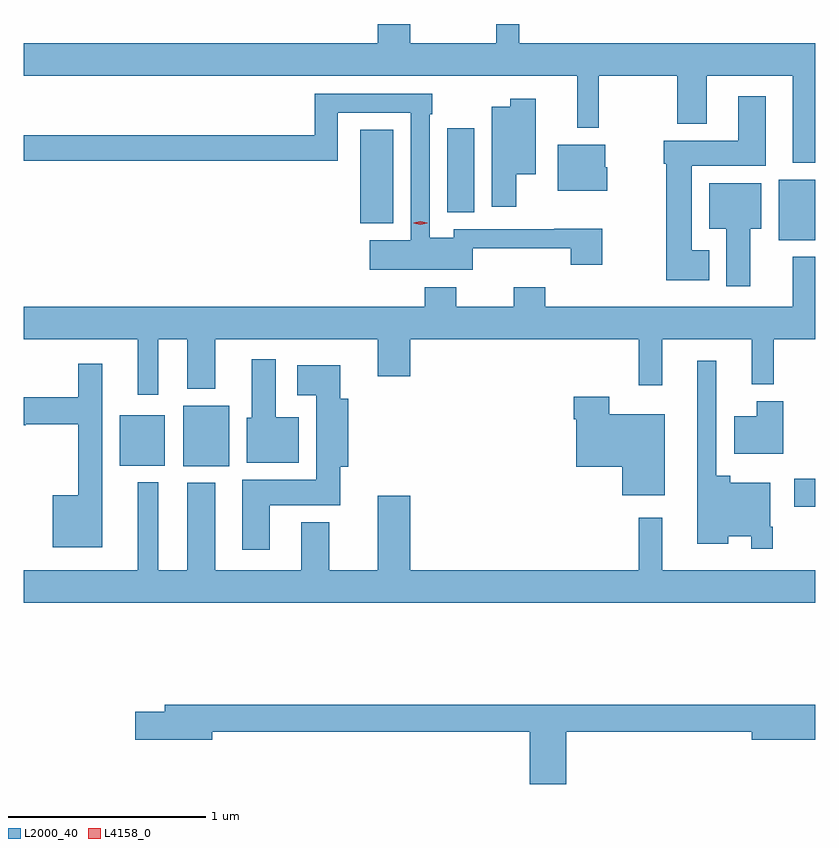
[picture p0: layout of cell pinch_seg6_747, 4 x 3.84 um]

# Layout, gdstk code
import gdstk
lib = gdstk.Library(unit=1e-6, precision=1e-09)
def R(c, l, rs):  # rectangles x0, y0, x1, y1
    for r in rs: c.add(gdstk.rectangle(r[:2], r[2:], *l))
def P(c, l, *ps):  # polygons
    for p in ps: c.add(gdstk.Polygon(p, *l))
L2000_40 = (2000, 40)
L4158_0 = (4158, 0)

pinch_seg6_747 = lib.new_cell('pinch_seg6_747')
R(pinch_seg6_747, L2000_40, [(263.016,989.113,263.122,989.255), (259.928,989.318,260.161,989.623), (259.607,989.321,259.834,989.575), (262.937,990.461,263.122,990.766), (260.822,990.545,260.989,991.019), (261.263,990.601,261.4,991.027)])
P(pinch_seg6_747, L2000_40, [(263.122,991.456),(261.625,991.456),(261.625,991.553),(261.511,991.553),(261.511,991.456),(261.076,991.456),(261.076,991.553),(260.912,991.553),(260.912,991.456),(259.122,991.456),(259.122,991.292),(261.92,991.292),(261.92,991.029),(262.029,991.029),(262.029,991.292),(262.426,991.292),(262.426,991.049),(262.573,991.049),(262.573,991.292),(263.009,991.292),(263.009,990.851),(263.122,990.851)],
  [(261.39,990.419),(261.887,990.419),(261.887,990.336),(262.047,990.336),(262.047,990.518),(261.803,990.518),(261.803,990.516),(261.294,990.516),(261.294,990.472),(261.174,990.472),(261.174,991.097),(261.187,991.097),(261.187,991.2),(260.593,991.2),(260.593,990.991),(259.122,990.991),(259.122,990.862),(260.709,990.862),(260.709,991.104),(261.078,991.104),(261.078,990.46),(260.871,990.46),(260.871,990.311),(261.39,990.311)],
  [(262.588,990.409),(262.498,990.409),(262.498,990.836),(262.873,990.836),(262.873,991.189),(262.733,991.189),(262.733,990.964),(262.358,990.964),(262.358,990.846),(262.369,990.846),(262.369,990.257),(262.588,990.257)],
  [(261.61,990.794),(261.709,990.794),(261.709,991.174),(261.58,991.174),(261.58,991.135),(261.488,991.135),(261.488,990.63),(261.61,990.63)],
  [(262.072,990.828),(262.06,990.828),(262.06,990.943),(261.821,990.943),(261.821,990.71),(262.072,990.71)],
  [(262.795,990.518),(262.849,990.518),(262.849,990.748),(262.586,990.748),(262.586,990.518),(262.673,990.518),(262.673,990.228),(262.795,990.228)],
  [(259.801,989.96),(259.949,989.96),(259.949,989.708),(260.089,989.708),(260.089,989.96),(260.912,989.96),(260.912,989.772),(261.076,989.772),(261.076,989.96),(262.231,989.96),(262.231,989.727),(262.349,989.727),(262.349,989.96),(262.802,989.96),(262.802,989.732),(262.912,989.732),(262.912,989.96),(263.122,989.96),(263.122,990.376),(263.009,990.376),(263.009,990.124),(261.758,990.124),(261.758,990.223),(261.598,990.223),(261.598,990.124),(261.309,990.124),(261.309,990.223),(261.149,990.223),(261.149,990.124),(259.122,990.124),(259.122,989.96),(259.697,989.96),(259.697,989.679),(259.801,989.679)],
  [(260.512,989.566),(260.395,989.566),(260.395,989.857),(260.273,989.857),(260.273,989.562),(260.249,989.562),(260.249,989.336),(260.512,989.336)],
  [(262.909,989.011),(262.896,989.011),(262.896,989.233),(262.692,989.233),(262.692,989.269),(262.623,989.269),(262.623,989.851),(262.526,989.851),(262.526,988.925),(262.684,988.925),(262.684,988.964),(262.8,988.964),(262.8,988.899),(262.909,988.899)],
  [(259.519,989.836),(259.398,989.836),(259.398,989.667),(259.122,989.667),(259.122,989.525),(259.132,989.525),(259.132,989.53),(259.398,989.53),(259.398,989.17),(259.268,989.17),(259.268,988.907),(259.519,988.907)],
  [(260.365,989.12),(260.722,989.12),(260.722,989.315),(260.761,989.315),(260.761,989.659),(260.722,989.659),(260.722,989.827),(260.505,989.827),(260.505,989.675),(260.6,989.675),(260.6,989.248),(260.225,989.248),(260.225,988.896),(260.365,988.896)],
  [(262.363,989.581),(262.08,989.581),(262.08,989.668),(261.902,989.668),(261.902,989.555),(261.914,989.555),(261.914,989.315),(262.148,989.315),(262.148,989.171),(262.363,989.171)],
  [(262.96,989.647),(262.826,989.647),(262.826,989.569),(262.712,989.569),(262.712,989.381),(262.96,989.381)],
  [(263.122,988.792),(262.348,988.792),(262.348,989.056),(262.231,989.056),(262.231,988.792),(261.076,988.792),(261.076,989.167),(260.912,989.167),(260.912,988.792),(260.665,988.792),(260.665,989.035),(260.525,989.035),(260.525,988.792),(260.089,988.792),(260.089,989.233),(259.949,989.233),(259.949,988.792),(259.801,988.792),(259.801,989.236),(259.697,989.236),(259.697,988.792),(259.122,988.792),(259.122,988.628),(263.122,988.628)],
  [(261.863,987.976),(262.802,987.976),(262.802,987.934),(263.122,987.934),(263.122,988.112),(259.835,988.112),(259.835,988.076),(259.686,988.076),(259.686,987.934),(260.074,987.934),(260.074,987.976),(261.68,987.976),(261.68,987.711),(261.863,987.711)])
P(pinch_seg6_747, L4158_0, [(261.127,990.537),(261.092,990.547),(261.092,990.547),(261.092,990.548),(261.127,990.557),(261.162,990.548),(261.162,990.547),(261.162,990.547)])

lib.write_gds('pinch_seg6_747.gds')
